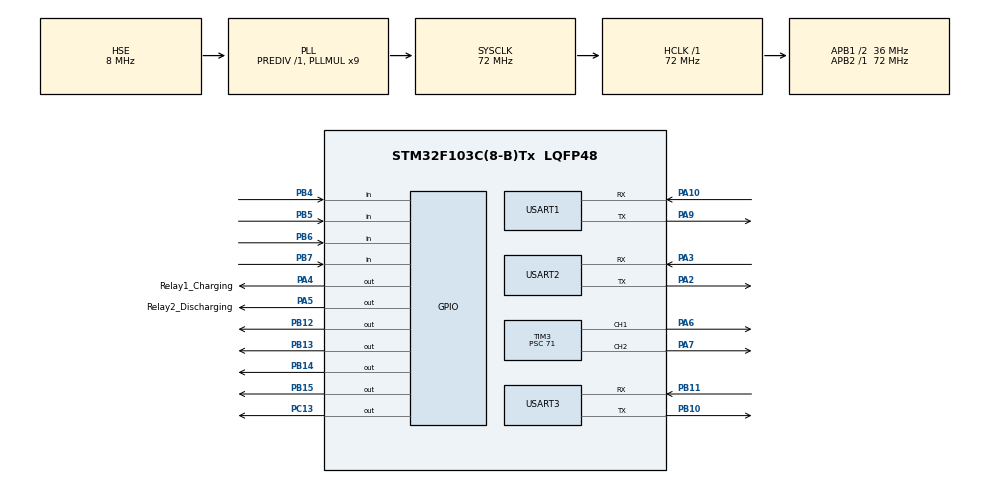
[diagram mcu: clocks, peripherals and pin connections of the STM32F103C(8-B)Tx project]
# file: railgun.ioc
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Dma.Request0=USART1_RX
Dma.Request1=USART1_TX
Dma.Request2=USART2_RX
Dma.Request3=USART2_TX
Dma.Request4=USART3_RX
Dma.Request5=USART3_TX
Dma.USART1_RX.0.Direction=DMA_PERIPH_TO_MEMORY
Dma.USART1_RX.0.Instance=DMA1_Channel5
Dma.USART1_RX.0.MemDataAlignment=DMA_MDATAALIGN_BYTE
Dma.USART1_RX.0.MemInc=DMA_MINC_ENABLE
Dma.USART1_RX.0.Mode=DMA_NORMAL
Dma.USART1_RX.0.PeriphDataAlignment=DMA_PDATAALIGN_BYTE
Dma.USART1_RX.0.PeriphInc=DMA_PINC_DISABLE
Dma.USART1_RX.0.Priority=DMA_PRIORITY_LOW
Dma.USART1_TX.1.Direction=DMA_MEMORY_TO_PERIPH
Dma.USART1_TX.1.Instance=DMA1_Channel4
Dma.USART1_TX.1.MemDataAlignment=DMA_MDATAALIGN_BYTE
Dma.USART1_TX.1.MemInc=DMA_MINC_ENABLE
Dma.USART1_TX.1.Mode=DMA_NORMAL
Dma.USART1_TX.1.PeriphDataAlignment=DMA_PDATAALIGN_BYTE
Dma.USART1_TX.1.PeriphInc=DMA_PINC_DISABLE
Dma.USART1_TX.1.Priority=DMA_PRIORITY_LOW
Dma.USART2_RX.2.Direction=DMA_PERIPH_TO_MEMORY
Dma.USART2_RX.2.Instance=DMA1_Channel6
Dma.USART2_RX.2.MemDataAlignment=DMA_MDATAALIGN_BYTE
Dma.USART2_RX.2.MemInc=DMA_MINC_ENABLE
Dma.USART2_RX.2.Mode=DMA_NORMAL
Dma.USART2_RX.2.PeriphDataAlignment=DMA_PDATAALIGN_BYTE
Dma.USART2_RX.2.PeriphInc=DMA_PINC_DISABLE
Dma.USART2_RX.2.Priority=DMA_PRIORITY_LOW
Dma.USART2_TX.3.Direction=DMA_MEMORY_TO_PERIPH
Dma.USART2_TX.3.Instance=DMA1_Channel7
Dma.USART2_TX.3.MemDataAlignment=DMA_MDATAALIGN_BYTE
Dma.USART2_TX.3.MemInc=DMA_MINC_ENABLE
Dma.USART2_TX.3.Mode=DMA_NORMAL
Dma.USART2_TX.3.PeriphDataAlignment=DMA_PDATAALIGN_BYTE
Dma.USART2_TX.3.PeriphInc=DMA_PINC_DISABLE
Dma.USART2_TX.3.Priority=DMA_PRIORITY_LOW
Dma.USART3_RX.4.Direction=DMA_PERIPH_TO_MEMORY
Dma.USART3_RX.4.Instance=DMA1_Channel3
Dma.USART3_RX.4.MemDataAlignment=DMA_MDATAALIGN_BYTE
Dma.USART3_RX.4.MemInc=DMA_MINC_ENABLE
Dma.USART3_RX.4.Mode=DMA_NORMAL
Dma.USART3_RX.4.PeriphDataAlignment=DMA_PDATAALIGN_BYTE
Dma.USART3_RX.4.PeriphInc=DMA_PINC_DISABLE
Dma.USART3_RX.4.Priority=DMA_PRIORITY_LOW
Dma.USART3_TX.5.Direction=DMA_MEMORY_TO_PERIPH
Dma.USART3_TX.5.Instance=DMA1_Channel2
Dma.USART3_TX.5.MemDataAlignment=DMA_MDATAALIGN_BYTE
Dma.USART3_TX.5.MemInc=DMA_MINC_ENABLE
Dma.USART3_TX.5.Mode=DMA_NORMAL
Dma.USART3_TX.5.PeriphDataAlignment=DMA_PDATAALIGN_BYTE
Dma.USART3_TX.5.PeriphInc=DMA_PINC_DISABLE
Dma.USART3_TX.5.Priority=DMA_PRIORITY_LOW
Mcu.Family=STM32F1
Mcu.Name=STM32F103C(8-B)Tx
Mcu.Package=LQFP48
NVIC.DMA1_Channel2_IRQn=true\:0\:0\:false\:false\:true\:false\:true
NVIC.DMA1_Channel3_IRQn=true\:0\:0\:false\:false\:true\:false\:true
NVIC.DMA1_Channel4_IRQn=true\:0\:0\:false\:false\:true\:false\:true
NVIC.DMA1_Channel5_IRQn=true\:0\:0\:false\:false\:true\:false\:true
NVIC.DMA1_Channel6_IRQn=true\:0\:0\:false\:false\:true\:false\:true
NVIC.DMA1_Channel7_IRQn=true\:0\:0\:false\:false\:true\:false\:true
NVIC.PriorityGroup=NVIC_PRIORITYGROUP_2
NVIC.TIM3_IRQn=true\:0\:0\:true\:false\:true\:true\:true
NVIC.TIM4_IRQn=true\:3\:0\:true\:false\:true\:true\:true
NVIC.USART1_IRQn=true\:1\:0\:true\:false\:true\:true\:true
NVIC.USART2_IRQn=true\:1\:0\:true\:false\:true\:true\:true
NVIC.USART3_IRQn=true\:1\:0\:true\:false\:true\:true\:true
PA10.Mode=Asynchronous
PA10.Signal=USART1_RX
PA13.Mode=JTAG_4_pins
PA13.Signal=SYS_JTMS-SWDIO
PA14.Mode=JTAG_4_pins
PA14.Signal=SYS_JTCK-SWCLK
PA15.Mode=JTAG_4_pins
PA15.Signal=SYS_JTDI
PA2.Mode=Asynchronous
PA2.Signal=USART2_TX
PA3.Mode=Asynchronous
PA3.Signal=USART2_RX
PA4.GPIO_Label=Relay1_Charging
PA4.PinState=GPIO_PIN_RESET
PA4.Signal=GPIO_Output
PA5.GPIO_Label=Relay2_Discharging
PA5.PinState=GPIO_PIN_RESET
PA5.Signal=GPIO_Output
PA6.Signal=S_TIM3_CH1
PA7.Signal=S_TIM3_CH2
PA9.Mode=Asynchronous
PA9.Signal=USART1_TX
PB10.Mode=Asynchronous
PB10.Signal=USART3_TX
PB11.Mode=Asynchronous
PB11.Signal=USART3_RX
PB12.PinState=GPIO_PIN_SET
PB12.Signal=GPIO_Output
PB13.PinState=GPIO_PIN_SET
PB13.Signal=GPIO_Output
PB14.PinState=GPIO_PIN_SET
PB14.Signal=GPIO_Output
PB15.PinState=GPIO_PIN_SET
PB15.Signal=GPIO_Output
PB3.Mode=JTAG_4_pins
PB3.Signal=SYS_JTDO-TRACESWO
PB4.GPIO_PuPd=GPIO_PULLUP
PB4.Signal=GPIO_Input
PB5.GPIO_PuPd=GPIO_PULLUP
PB5.Signal=GPIO_Input
PB6.GPIO_PuPd=GPIO_PULLUP
PB6.Signal=GPIO_Input
PB7.GPIO_PuPd=GPIO_PULLUP
PB7.Signal=GPIO_Input
PC13-TAMPER-RTC.PinState=GPIO_PIN_SET
PC13-TAMPER-RTC.Signal=GPIO_Output
PD0-OSC_IN.Mode=HSE-External-Oscillator
PD0-OSC_IN.Signal=RCC_OSC_IN
PD1-OSC_OUT.Mode=HSE-External-Oscillator
PD1-OSC_OUT.Signal=RCC_OSC_OUT
ProjectManager.HeapSize=0x200
ProjectManager.StackSize=0x400
ProjectManager.TargetToolchain=MDK-ARM V5.27
RCC.AHBFreq_Value=72000000
RCC.APB1CLKDivider=RCC_HCLK_DIV2
RCC.APB1Freq_Value=36000000
RCC.APB1TimFreq_Value=72000000
RCC.APB2Freq_Value=72000000
RCC.APB2TimFreq_Value=72000000
RCC.HCLKFreq_Value=72000000
RCC.PLLMUL=RCC_PLL_MUL9
RCC.PLLSourceVirtual=RCC_PLLSOURCE_HSE
RCC.SYSCLKFreq_VALUE=72000000
RCC.SYSCLKSource=RCC_SYSCLKSOURCE_PLLCLK
RCC.USBFreq_Value=72000000
SH.S_TIM3_CH1.0=TIM3_CH1,PWM Generation1 CH1
SH.S_TIM3_CH2.0=TIM3_CH2,PWM Generation2 CH2
TIM3.AutoReloadPreload=TIM_AUTORELOAD_PRELOAD_ENABLE
TIM3.Channel-PWM\ Generation1\ CH1=TIM_CHANNEL_1
TIM3.Channel-PWM\ Generation2\ CH2=TIM_CHANNEL_2
TIM3.OCPolarity_1=TIM_OCPOLARITY_HIGH
TIM3.OCPolarity_2=TIM_OCPOLARITY_HIGH
TIM3.Period=9999
TIM3.Prescaler=71
TIM4.AutoReloadPreload=TIM_AUTORELOAD_PRELOAD_ENABLE
TIM4.Period=10000-1
TIM4.Prescaler=7100-1
USART1.VirtualMode=VM_ASYNC
USART2.VirtualMode=VM_ASYNC
USART3.VirtualMode=VM_ASYNC
VP_TIM3_VS_ClockSourceINT.Mode=Internal
VP_TIM4_VS_ClockSourceINT.Mode=Internal
board=custom

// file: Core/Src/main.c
/* USER CODE BEGIN Header */
/**
  ******************************************************************************
  * @file           : main.c
  * @brief          : Main program body
  ******************************************************************************
  * @attention
  *
  * <h2><center>&copy; Copyright (c) 2021 STMicroelectronics.
  * All rights reserved.</center></h2>
  *
  * This software component is licensed by ST under BSD 3-Clause license,
  * the "License"; You may not use this file except in compliance with the
  * License. You may obtain a copy of the License at:
  *                        opensource.org/licenses/BSD-3-Clause
  *
  ******************************************************************************
  */
/* USER CODE END Header */
#include "main.h"
#include "dma.h"
#include "tim.h"
#include "usart.h"
#include "gpio.h"

/* USER CODE BEGIN Includes */
#include <stdio.h>
#include <stdlib.h>
#include <string.h>
#include <math.h>

#include "bsp_servo.h"
#include "bsp_matrixkey.h"
#include "bsp_laserdistance.h"
/* USER CODE END Includes */

/* USER CODE BEGIN PD */
#define PI 3.14159265
//#define V_0 6.3837
#define V_0 6.442
#define g 9.7803
#define INVALID_VAL 999
/* USER CODE END PD */

/* USER CODE BEGIN PV */
enum InstructionSource{
  my_MatrixKey=0,
  my_USART1=1,
  my_USART2=2,
  my_USART3=3
};

volatile uint8_t rx1_len=0;
volatile uint8_t rx2_len=0;
volatile uint8_t rx3_len=0;
volatile uint8_t recv1_end_flag=0;
volatile uint8_t recv2_end_flag=0;
volatile uint8_t recv3_end_flag=0;
volatile uint8_t laserdistance_recv=0;
uint8_t rx1_buffer[BUFFER_SIZE];
uint8_t rx2_buffer[BUFFER_SIZE];
uint8_t rx3_buffer[BUFFER_SIZE];

char matrixkey_temp = 0;
MatrixKey_Buffer matrixkey_buffer;

volatile int pitch    = 0;
volatile int yaw      = 30;
volatile int distance = 0;    // 非负整数，单位cm
char pitch_buffer[5];
char yaw_buffer[5];
char distance_buffer[5];
volatile uint8_t mode  = 0;

/* USER CODE END PV */

void SystemClock_Config(void);

/* USER CODE BEGIN 0 */

/**
  * @brief 处理串口数据
  * @param
  * @retval
  */
void Handle_UART_Data(UART_HandleTypeDef* huart);

/**
  * @brief 处理矩阵按键数据
  * @param
  * @retval
  */
void ProcessMatrixKeyData(void);

/**
  * @brief 分析指令
  *    数据格式：yaw*pitch*distance，999为非法值
  * @param
  * @retval
  */
void AnalyzeInstruction(char* instr, enum InstructionSource s);

void AnalyzeInstruction_MatrixKey(char* instr);
void AnalyzeInstruction_USART1(char* instr);
void AnalyzeInstruction_USART2(char* instr);
void AnalyzeInstruction_USART3(char instr[]);

int CalPitchAngle(void);

/* USER CODE END 0 */

int main(void)
{

  /* MCU Configuration--------------------------------------------------------*/

  /* Reset of all peripherals, Initializes the Flash interface and the Systick. */
  HAL_Init();

  /* Configure the system clock */
  SystemClock_Config();

  /* Initialize all configured peripherals */
  MX_GPIO_Init();
  MX_DMA_Init();
  MX_USART1_UART_Init();
  MX_USART2_UART_Init();
  MX_USART3_UART_Init();
  MX_TIM3_Init();
  MX_TIM4_Init();
  /* USER CODE BEGIN 2 */

  //使能idle中断和打开串口DMA接收语句
	__HAL_UART_ENABLE_IT(&huart1, UART_IT_IDLE);          //使能idle中断
	HAL_UART_Receive_DMA(&huart1,rx1_buffer,BUFFER_SIZE); //打开DMA接收，数据存入rx_buffer数组中。

  __HAL_UART_ENABLE_IT(&huart2, UART_IT_IDLE);
	HAL_UART_Receive_DMA(&huart2,rx2_buffer,BUFFER_SIZE);

  __HAL_UART_ENABLE_IT(&huart3, UART_IT_IDLE);
	HAL_UART_Receive_DMA(&huart3,rx3_buffer,BUFFER_SIZE);

  // tim3用于产生pwm，tim4用于定时打印log
  HAL_TIM_PWM_Start(&htim3, TIM_CHANNEL_1); // 输出pwm
  HAL_TIM_PWM_Start(&htim3, TIM_CHANNEL_2); // 输出pwm

  HAL_TIM_Base_Start_IT(&htim3);            // 启用中断
  HAL_TIM_Base_Start_IT(&htim4);            // 启用中断

//  int i = 0;

  /* USER CODE END 2 */

  /* Infinite loop */
  /* USER CODE BEGIN WHILE */
  while (1)
  {

    // 接收串口信息
    if(recv1_end_flag || recv2_end_flag || recv3_end_flag){
      Handle_UART_Data(&huart1);
      Handle_UART_Data(&huart2);
      Handle_UART_Data(&huart3);
    }
    ProcessMatrixKeyData();

    /* USER CODE END WHILE */

  }
}

void SystemClock_Config(void)
{
  RCC_OscInitTypeDef RCC_OscInitStruct = {0};
  RCC_ClkInitTypeDef RCC_ClkInitStruct = {0};

  /** Initializes the RCC Oscillators according to the specified parameters
  * in the RCC_OscInitTypeDef structure.
  */
  RCC_OscInitStruct.OscillatorType = RCC_OSCILLATORTYPE_HSE;
  RCC_OscInitStruct.HSEState = RCC_HSE_ON;
  RCC_OscInitStruct.HSEPredivValue = RCC_HSE_PREDIV_DIV1;
  RCC_OscInitStruct.HSIState = RCC_HSI_ON;
  RCC_OscInitStruct.PLL.PLLState = RCC_PLL_ON;
  RCC_OscInitStruct.PLL.PLLSource = RCC_PLLSOURCE_HSE;
  RCC_OscInitStruct.PLL.PLLMUL = RCC_PLL_MUL9;
  if (HAL_RCC_OscConfig(&RCC_OscInitStruct) != HAL_OK)
  {
    Error_Handler();
  }
  /** Initializes the CPU, AHB and APB buses clocks
  */
  RCC_ClkInitStruct.ClockType = RCC_CLOCKTYPE_HCLK|RCC_CLOCKTYPE_SYSCLK
                              |RCC_CLOCKTYPE_PCLK1|RCC_CLOCKTYPE_PCLK2;
  RCC_ClkInitStruct.SYSCLKSource = RCC_SYSCLKSOURCE_PLLCLK;
  RCC_ClkInitStruct.AHBCLKDivider = RCC_SYSCLK_DIV1;
  RCC_ClkInitStruct.APB1CLKDivider = RCC_HCLK_DIV2;
  RCC_ClkInitStruct.APB2CLKDivider = RCC_HCLK_DIV1;

  if (HAL_RCC_ClockConfig(&RCC_ClkInitStruct, FLASH_LATENCY_2) != HAL_OK)
  {
    Error_Handler();
  }
}

/* USER CODE BEGIN 4 */

void Handle_UART_Data(UART_HandleTypeDef* huart)
{
  if(huart == &huart1)
  {
    if(recv1_end_flag ==1)
		{
			printf("rx_len=%d\n",rx1_len);                        //打印接收长度
			HAL_UART_Transmit(&huart1,rx1_buffer, rx1_len,200);   // 接收数据打印出来

      //分析指令
      AnalyzeInstruction((char*)rx1_buffer, my_USART1);

			for(uint8_t i=0;i<rx1_len;i++)
      {
				rx1_buffer[i]=0;                                    //清接收缓存
			}
			rx1_len=0;                                            //清除计数
			recv1_end_flag=0;                                     //清除接收结束标志位
		}
		HAL_UART_Receive_DMA(&huart1,rx1_buffer,BUFFER_SIZE);   //重新打开DMA接收
  } else if(huart == &huart2)
  {
    if(recv2_end_flag ==1)
		{
			printf("rx_len=%d\n",rx2_len);                        //打印接收长度
			HAL_UART_Transmit(&huart1,rx2_buffer, rx2_len,200);    // 接收数据打印出来
			for(uint8_t i=0;i<rx2_len;i++)
			{
					rx2_buffer[i]=0;                                  //清接收缓存
			}
			rx2_len=0;                                            //清除计数
			recv2_end_flag=0;                                     //清除接收结束标志位
		}
		HAL_UART_Receive_DMA(&huart2,rx2_buffer,BUFFER_SIZE);   //重新打开DMA接收
  } else if(huart == &huart3)
  {
    if(recv3_end_flag ==1)
		{
			printf("rx_len=%d\n",rx3_len);                        //打印接收长度
			HAL_UART_Transmit(&huart1,rx3_buffer, rx3_len,200);    // 接收数据打印出来

      // 分析指令
      AnalyzeInstruction((char*)rx3_buffer, my_USART3);
      // usart3的数据分析函数写在Get_Distance中。这样可以确保每次都使用的是新数据

			for(uint8_t i=0;i<rx3_len;i++)
			{
					rx3_buffer[i]=0;                                  //清接收缓存
			}
			rx3_len=0;                                            //清除计数
			recv3_end_flag=0;                                     //清除接收结束标志位
		}
		HAL_UART_Receive_DMA(&huart3,rx3_buffer,BUFFER_SIZE);   //重新打开DMA接收
  }

}

/** 注意：
 *       pitch舵机接PA6
 *       yaw舵机接PA7
 */
void HAL_TIM_PeriodElapsedCallback(TIM_HandleTypeDef *htim)
{
  if(htim->Instance == TIM3){
    TIM3->CCR1 = Servo_Control(Get_Pitch_ServoAngle(pitch));
    TIM3->CCR2 = Servo_Control(Get_Yaw_ServoAngle(yaw));
  }

  if(htim->Instance == TIM4){
    printf("[data:%s ", matrixkey_buffer.data);
    printf("size:%d]\n", matrixkey_buffer.size);
    printf("[yaw=%d pitch=%d d=%d]", yaw, pitch, distance);
  }
}

void ProcessMatrixKeyData(void){
  // 扫描按键
  matrixkey_temp = Key_ScanChar();
  switch(matrixkey_temp){
    case 0:
      break;
    case '#':
      AnalyzeInstruction(matrixkey_buffer.data, my_MatrixKey);
      matrixkey_buffer.size = 0;
      memset(matrixkey_buffer.data, 0, sizeof(matrixkey_buffer.data));//清空缓冲区

      //充电
      Relay2_Open;  // 断开
      Relay1_Close; // 闭合
      HAL_Delay(5000);
      // 发射
      Relay1_Open;  // 断开
      HAL_Delay(1000);
      Relay2_Close; // 闭合
      break;
    case 'D':  // 删除一个字符
      if(matrixkey_buffer.size != 0){
        matrixkey_buffer.size-- ;
        matrixkey_buffer.data[matrixkey_buffer.size] = 0;
      }
      break;
    case 'C':  // 清空缓冲区
      memset(matrixkey_buffer.data, 0, sizeof(matrixkey_buffer.data));
      matrixkey_buffer.size = 0;
      break;
    default:
      matrixkey_buffer.data[matrixkey_buffer.size] = matrixkey_temp;
      matrixkey_buffer.size++;
  }
}

void AnalyzeInstruction(char* instr, enum InstructionSource s)
{
  switch(s){
    case my_MatrixKey:
      AnalyzeInstruction_MatrixKey(instr);
      break;
    case my_USART1:
      AnalyzeInstruction_USART1(instr);
      break;
    case my_USART2:
      break;
    case my_USART3:
      AnalyzeInstruction_USART3(instr);
      break;
    default:
      return;
  }
}

void AnalyzeInstruction_MatrixKey(char* instr){
  //数据格式：yaw*pitch*distance，999为非法值
  char *delim = "*", *p;
  volatile int temp_pitch = 0;
  uint8_t index = 0;
  sprintf(yaw_buffer, "%s", strtok(instr, delim));
  while((p = strtok(NULL, delim)) && index<2){
    if(index == 0){
      sprintf(pitch_buffer, "%s", p);
    } else if (index == 1){
      sprintf(distance_buffer, "%s", p);
    }
    index ++;
  }

  yaw      = atoi((const char*)yaw_buffer);
  //pitch    = atoi((const char*)pitch_buffer);
  distance = atoi((const char*)distance_buffer);

  temp_pitch = atoi((const char*)pitch_buffer);
  if(temp_pitch == INVALID_VAL){
    pitch  = CalPitchAngle();
  } else {
    pitch = temp_pitch;
  }
}
void AnalyzeInstruction_USART1(char* instr){
  switch(*instr){
    case 'G':
      if(pitch < 90)
        pitch += 10;
      break;
    case 'K':
      if(pitch > -10)
        pitch -= 10;
      break;
    case 'H':
      if(yaw < 120)
        yaw += 10;
      break;
    case 'J':
      if(yaw > -60)
      yaw -= 10;
      break;
    case 'I':
      pitch = 0;
      yaw   = 30;
      break;
    case 'A':
      // 开始充电：先断开放电回路，再连接充电回路
      Relay2_Open;  // 断开
      Relay1_Close; // 闭合
      break;
    case 'B':
      // 开始放电：先断开充电回路，再连接放电回路
      Relay1_Open;  // 断开
      HAL_Delay(1000);
      Relay2_Close; // 闭合
      break;
    case 'C':
      // 同时断开充放电回路
      Relay1_Open;
      Relay2_Open;
      break;
    case 'D':
      // 充电发射

      //充电
      Relay2_Open;  // 断开
      Relay1_Close; // 闭合
      HAL_Delay(5000);
      // 发射
      Relay1_Open;  // 断开
      HAL_Delay(1000);
      Relay2_Close; // 闭合
      break;
    case 'E':
      Get_Distance();
      break;

    default:
      AnalyzeInstruction_MatrixKey(instr);
  }
}
void AnalyzeInstruction_USART2(char* instr);
void AnalyzeInstruction_USART3(char instr[])
{
  // 处理接收到的数据
  if(instr[0]=='E')
  {
    return;
  } else if (instr[0]=='D'){

    double temp;  // 暂时存储d的中间值，单位m
    char *delim = "m";
    instr[0] = '0';
    instr[1] = '0';
    sprintf(distance_buffer, "%s", strtok((char*)instr, delim));   // 只提取切割后的第一位
    temp = atof((const char*)distance_buffer);
    distance = (int)(temp * 1000 + 0.5);   // 四舍五入
  }
  return;
}

int CalPitchAngle(void)
{
//  double temp_d = 0.001 * distance;
//  double angle = 0;
//  int temp_pitch;
//  double error_distance = 0;
//  //angle = 0.5 * asin(temp_d * g / ( V_0 * V_0)) * 180.0 / PI ;
//  int i = 0;
//  angle = 0.5 * asin(temp_d * g / ( V_0 * V_0)) * 180.0 / PI ;

//  temp_pitch = (int) (angle + 0.5);
//  return temp_pitch;

//  double temp_d = 0.001 * distance;
//  double angle = 0;
//  int temp_pitch;
//  double error_distance = 0;
//  //angle = 0.5 * asin(temp_d * g / ( V_0 * V_0)) * 180.0 / PI ;
//  int i = 0;
//
//  for (;i<10;i++){
//    //angle = 0.5 * asin(temp_d * g / ( V_0 * V_0)) * 180.0 / PI ;
//    rad = 0.5 * asin(temp_d * g / ( V_0 * V_0)) * 180.0 / PI ;
//
//  }
//  temp_pitch = (int) (angle + 0.5);
//  return temp_pitch;
//

  double temp_d = 0.001 * distance;
  double angle = 0;
  int temp_pitch;
  angle = 10 * temp_d - 8 ;
  temp_pitch = (int) (angle + 0.5);
  return temp_pitch;

}

/* USER CODE END 4 */

void Error_Handler(void)
{
}

/************************ (C) COPYRIGHT STMicroelectronics *****END OF FILE****/
